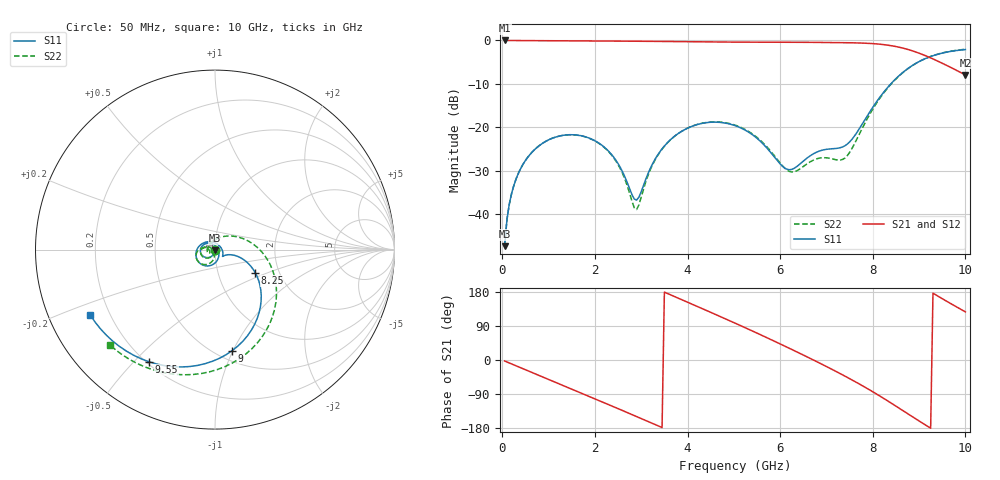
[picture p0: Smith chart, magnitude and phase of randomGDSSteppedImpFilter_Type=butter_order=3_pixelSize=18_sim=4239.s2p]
! freq	dB(S11)	phase(S11)	dB(S12)	phase(S12)
!  dB(S21)	phase(S21)	dB(S22)	phase(S22)
!S-par simulation data
#  GHz  S  DB  R 50
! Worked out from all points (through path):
!   200 points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, 50 MHz to 10 GHz, reference 50 ohm
!   highest |S21| = 0.00 dB at 50 MHz (marker M1); lowest = -7.9 dB at 10 GHz (marker M2)
!   group delay of S21, straight-line fit = 162 ps
!   lowest |S11| = -47.4 dB at 50 MHz (marker M3), VSWR 1.01, Z = 50 - j0.427 ohm
!   |S11| at or under -10 dB: start of sweep to 8.39 GHz
!   |S22| runs from -47.3 to -2.0 dB; largest |S21 - S12| = 0
!   S11 on the Smith chart (normalised r, x): 50 MHz: 1.00, -0.01; 8.25 GHz: 1.51, -0.42; 9 GHz: 0.60, -0.99; 9.55 GHz: 0.21, -0.55; 10 GHz: 0.13, -0.24
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0.05  -47.38 -91.2  -0.00 -2.6  -0.00 -2.6  -47.33 -91.4
0.1  -41.31 -94.3  -0.01 -5.2  -0.01 -5.2  -41.30 -94.2
0.2  -35.29 -100.1  -0.02 -10.3  -0.02 -10.3  -35.29 -99.4
0.5  -27.65 -116.8  -0.04 -25.7  -0.04 -25.7  -27.63 -114.7
1.15  -22.26 -152.5  -0.09 -58.9  -0.09 -58.9  -22.26 -147.0
1.75  -22.06 173.5  -0.13 -89.6  -0.13 -89.6  -22.09 -175.5
2.4  -26.81 130.0  -0.15 -123.1  -0.15 -123.1  -26.96 159.0
2.9  -36.77 26.6  -0.18 -149.2  -0.18 -149.2  -38.93 -144.4
3.4  -25.68 -70.2  -0.23 -175.6  -0.23 -175.6  -25.78 -97.8
4.15  -19.57 -120.7  -0.33 144.6  -0.33 144.6  -19.54 -128.2
5.05  -19.70 -176.4  -0.39 96.0  -0.39 96.0  -19.59 -169.2
5.6  -23.51 141.4  -0.39 65.3  -0.39 65.3  -23.27 171.4
6.15  -29.68 58.7  -0.40 33.8  -0.40 33.8  -29.87 -174.1
6.7  -26.22 -25.2  -0.44 1.1  -0.44 1.1  -27.66 -149.0
7.4  -24.25 -32.8  -0.51 -42.6  -0.51 -42.6  -27.07 122.3
7.85  -17.91 -16.5  -0.64 -73.1  -0.64 -73.1  -18.63 40.3
8.25  -11.73 -29.9  -0.98 -102.4  -0.98 -102.4  -11.91 -1.2
8.35  -10.47 -35.5  -1.12 -110.0  -1.12 -110.0  -10.60 -10.3
8.7  -6.93 -58.5  -1.90 -137.4  -1.90 -137.4  -6.97 -40.8
9  -4.87 -80.3  -2.93 -160.9  -2.93 -160.9  -4.87 -65.6
9.55  -2.79 -120.4  -5.51 158.2  -5.51 158.2  -2.76 -107.2
10  -2.10 -152.4  -7.94 127.0  -7.94 127.0  -2.04 -137.8
